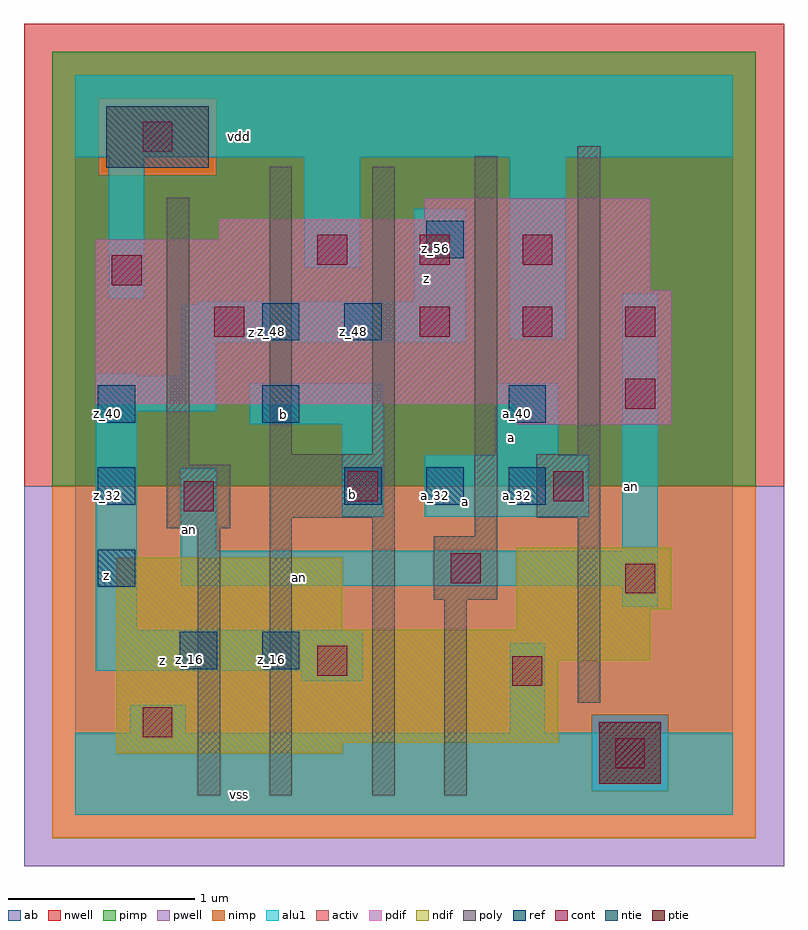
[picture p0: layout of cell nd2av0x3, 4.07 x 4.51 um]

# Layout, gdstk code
import gdstk
lib = gdstk.Library(unit=1e-6, precision=2.5e-09)
def R(c, l, rs):  # rectangles x0, y0, x1, y1
    for r in rs: c.add(gdstk.rectangle(r[:2], r[2:], *l))
def A(c, l, x, y, w, h, nx, ny, dx, dy):  # array of equal rectangles
    R(c, l, [(x+i*dx, y+j*dy, x+i*dx+w, y+j*dy+h) for i in range(nx) for j in range(ny)])
ndif = (3, 0)
pdif = (4, 0)
ntie = (5, 0)
ptie = (6, 0)
ref = (24, 0)
cont = (25, 0)
pwell = (41, 0)
nwell = (42, 0)
activ = (43, 0)
pimp = (44, 0)
nimp = (45, 0)
poly = (46, 0)
alu1 = (49, 0)
ab = (63, 0)

nd2av0x3 = lib.new_cell('nd2av0x3')
R(nd2av0x3, ndif, [(0.22,0.33,1.43,0.385), (0.22,0.385,2.585,0.825), (0.22,0.825,3.08,0.99), (0.22,0.99,1.43,1.375), (2.365,0.99,3.08,1.1), (2.365,1.1,3.19,1.43)])
R(nd2av0x3, pdif, [(2.365,2.09,3.19,2.2), (0.11,2.2,3.19,2.805), (0.11,2.805,3.08,3.08), (0.77,3.08,3.08,3.19), (1.87,3.19,3.08,3.3)])
R(nd2av0x3, ntie, [(0.165,3.465,0.715,3.795)])
R(nd2av0x3, ptie, [(2.805,0.165,3.135,0.495)])
A(nd2av0x3, ref, 0.12, 1.22, 0.2, 0.2, 1, 3, 0, 0.44)
A(nd2av0x3, ref, 1.44, 1.66, 0.2, 0.2, 3, 1, 0.44, 0)
R(nd2av0x3, ref, [(0.56,0.78,0.76,0.98), (1,0.78,1.2,0.98), (1,2.1,1.2,2.3), (2.32,2.1,2.52,2.3), (1,2.54,1.2,2.74), (1.44,2.54,1.64,2.74), (1.88,2.98,2.08,3.18)])
A(nd2av0x3, cont, 1.845, 2.56, 0.16, 0.16, 3, 1, 0.55, 0)
A(nd2av0x3, cont, 1.295, 2.945, 0.16, 0.16, 3, 1, 0.55, 0)
R(nd2av0x3, cont, [(2.89,0.25,3.05,0.41), (0.36,0.415,0.52,0.575), (2.34,0.69,2.5,0.85), (1.295,0.745,1.455,0.905), (2.945,1.185,3.105,1.345), (2.01,1.24,2.17,1.4), (0.58,1.625,0.74,1.785), (1.46,1.68,1.62,1.84), (2.56,1.68,2.72,1.84), (2.945,2.175,3.105,2.335), (0.745,2.56,0.905,2.72), (0.195,2.835,0.355,2.995), (0.36,3.55,0.52,3.71)])
R(nd2av0x3, pwell, [(-0.275,-0.275,3.795,1.76)])
R(nd2av0x3, nwell, [(-0.275,1.76,3.795,4.235)])
R(nd2av0x3, activ, [(2.805,0.165,3.135,0.495), (0.22,0.33,1.43,0.385), (0.22,0.385,2.585,0.825), (0.22,0.825,3.08,0.99), (0.22,0.99,1.43,1.375), (2.365,0.99,3.08,1.1), (2.365,1.1,3.19,1.43), (2.365,2.09,3.19,2.2), (0.11,2.2,3.19,2.805), (0.11,2.805,3.08,3.08), (0.77,3.08,3.08,3.19), (1.87,3.19,3.08,3.3), (0.165,3.465,0.715,3.795)])
R(nd2av0x3, pimp, [(2.765,0.125,3.175,0.535), (-0.125,1.76,3.645,3.425), (-0.125,3.425,0.125,3.835), (0.755,3.425,3.645,3.835), (-0.125,3.835,3.645,4.085)])
R(nd2av0x3, nimp, [(-0.125,-0.125,3.645,0.125), (-0.125,0.125,2.765,0.535), (3.175,0.125,3.645,0.535), (-0.125,0.535,3.645,1.76), (0.125,3.425,0.755,3.835)])
R(nd2av0x3, poly, [(0.655,0.105,0.775,1.535), (1.04,0.105,1.16,1.59), (1.59,0.105,1.71,1.59), (1.975,0.105,2.095,1.15), (2.69,0.6,2.81,1.59), (1.92,1.15,2.26,1.49), (2.14,1.49,2.26,3.525), (0.49,1.535,0.83,1.875), (1.04,1.59,1.71,1.93), (2.47,1.59,2.81,1.93), (0.49,1.875,0.61,3.305), (1.04,1.93,1.16,3.47), (1.59,1.93,1.71,3.47), (2.69,1.93,2.81,3.58)])
R(nd2av0x3, alu1, [(0,0,3.52,0.44), (0.29,0.44,0.59,0.59), (2.325,0.44,2.515,0.92), (1.21,0.715,1.54,0.77), (0.11,0.77,1.54,0.99), (0.11,0.99,0.33,2.16), (2.93,1.115,3.12,1.225), (0.565,1.225,3.12,1.415), (0.565,1.415,0.755,1.855), (2.93,1.415,3.12,2.79), (1.43,1.595,1.65,2.09), (1.87,1.595,2.75,1.925), (2.255,1.925,2.585,2.31), (0.935,2.09,1.65,2.31), (0.11,2.16,0.755,2.35), (0.11,2.35,0.33,2.365), (0.565,2.35,0.755,2.53), (0.565,2.53,2.09,2.735), (2.325,2.545,2.625,3.52), (0.66,2.735,2.09,2.75), (1.815,2.75,2.09,3.245), (0.18,2.765,0.37,3.52), (1.225,2.93,1.525,3.52), (0,3.52,3.52,3.96)])
R(nd2av0x3, ab, [(0,0,3.52,3.96)])
nd2av0x3.add(gdstk.Label('vss', (0.88,0.11), layer=49, texttype=0))
nd2av0x3.add(gdstk.Label('z', (0.4675,0.825), layer=49, texttype=0))
nd2av0x3.add(gdstk.Label('an', (1.2025,1.2725), layer=49, texttype=0))
nd2av0x3.add(gdstk.Label('an', (2.9775,1.7575), layer=49, texttype=0))
nd2av0x3.add(gdstk.Label('a', (2.09,1.6775), layer=49, texttype=0))
nd2av0x3.add(gdstk.Label('a', (2.3375,2.02), layer=49, texttype=0))
nd2av0x3.add(gdstk.Label('b', (1.485,1.7175), layer=49, texttype=0))
nd2av0x3.add(gdstk.Label('an', (0.6125,1.525), layer=49, texttype=0))
nd2av0x3.add(gdstk.Label('b', (1.1125,2.145), layer=49, texttype=0))
nd2av0x3.add(gdstk.Label('z', (0.165,1.2825), layer=49, texttype=0))
nd2av0x3.add(gdstk.Label('z', (0.945,2.58), layer=49, texttype=0))
nd2av0x3.add(gdstk.Label('z', (1.8825,2.8725), layer=49, texttype=0))
nd2av0x3.add(gdstk.Label('vdd', (0.88,3.63), layer=49, texttype=0))
nd2av0x3.add(gdstk.Label('z_16', (0.61,0.83), layer=24, texttype=0))
nd2av0x3.add(gdstk.Label('z_16', (1.05,0.83), layer=24, texttype=0))
nd2av0x3.add(gdstk.Label('b_40', (1.05,2.15), layer=24, texttype=0))
nd2av0x3.add(gdstk.Label('z_48', (1.05,2.59), layer=24, texttype=0))
nd2av0x3.add(gdstk.Label('b_32', (1.49,1.71), layer=24, texttype=0))
nd2av0x3.add(gdstk.Label('z_48', (1.49,2.59), layer=24, texttype=0))
nd2av0x3.add(gdstk.Label('a_32', (1.93,1.71), layer=24, texttype=0))
nd2av0x3.add(gdstk.Label('z_56', (1.93,3.03), layer=24, texttype=0))
nd2av0x3.add(gdstk.Label('z_24', (0.17,1.27), layer=24, texttype=0))
nd2av0x3.add(gdstk.Label('z_32', (0.17,1.71), layer=24, texttype=0))
nd2av0x3.add(gdstk.Label('z_40', (0.17,2.15), layer=24, texttype=0))
nd2av0x3.add(gdstk.Label('a_32', (2.37,1.71), layer=24, texttype=0))
nd2av0x3.add(gdstk.Label('a_40', (2.37,2.15), layer=24, texttype=0))

lib.write_gds('nd2av0x3.gds')
